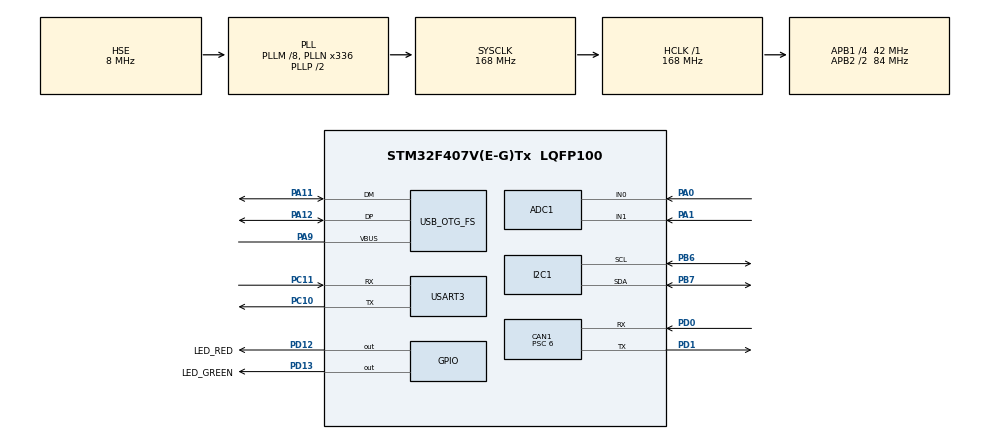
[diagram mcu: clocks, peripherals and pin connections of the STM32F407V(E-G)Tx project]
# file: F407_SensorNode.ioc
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ADC1.Channel-2\#ChannelRegularConversion=ADC_CHANNEL_1
ADC1.DMAContinuousRequests=ENABLE
ADC1.NbrOfConversion=2
ADC1.NbrOfConversionFlag=1
ADC1.Rank-2\#ChannelRegularConversion=2
ADC1.SamplingTime-0\#ChannelRegularConversion=ADC_SAMPLETIME_480CYCLES
ADC1.SamplingTime-2\#ChannelRegularConversion=ADC_SAMPLETIME_480CYCLES
ADC1.master=1
CAN1.ABOM=ENABLE
CAN1.BS1=CAN_BS1_11TQ
CAN1.BS2=CAN_BS2_2TQ
CAN1.CalculateBaudRate=500000
CAN1.CalculateTimeBit=2000
CAN1.CalculateTimeQuantum=142.85714285714286
CAN1.Prescaler=6
Dma.ADC1.1.Direction=DMA_PERIPH_TO_MEMORY
Dma.ADC1.1.FIFOMode=DMA_FIFOMODE_DISABLE
Dma.ADC1.1.Instance=DMA2_Stream0
Dma.ADC1.1.MemDataAlignment=DMA_MDATAALIGN_HALFWORD
Dma.ADC1.1.MemInc=DMA_MINC_ENABLE
Dma.ADC1.1.Mode=DMA_CIRCULAR
Dma.ADC1.1.PeriphDataAlignment=DMA_PDATAALIGN_HALFWORD
Dma.ADC1.1.PeriphInc=DMA_PINC_DISABLE
Dma.ADC1.1.Priority=DMA_PRIORITY_HIGH
Dma.Request0=USART3_RX
Dma.Request1=ADC1
Dma.USART3_RX.0.Direction=DMA_PERIPH_TO_MEMORY
Dma.USART3_RX.0.FIFOMode=DMA_FIFOMODE_DISABLE
Dma.USART3_RX.0.Instance=DMA1_Stream1
Dma.USART3_RX.0.MemDataAlignment=DMA_MDATAALIGN_BYTE
Dma.USART3_RX.0.MemInc=DMA_MINC_ENABLE
Dma.USART3_RX.0.Mode=DMA_CIRCULAR
Dma.USART3_RX.0.PeriphDataAlignment=DMA_PDATAALIGN_BYTE
Dma.USART3_RX.0.PeriphInc=DMA_PINC_DISABLE
Dma.USART3_RX.0.Priority=DMA_PRIORITY_MEDIUM
FREERTOS.BinarySemaphores01=modbusRxSemaphore,Dynamic,NULL,Available
FREERTOS.Mutexes01=sensorDataMutex,Dynamic,NULL,Available
FREERTOS.Tasks01=sensorTask,24,256,SensorTaskFunc,Default,NULL,Dynamic,NULL,NULL;modbusTask,40,512,ModbusTaskFunc,Default,NULL,Dynamic,NULL,NULL;canTask,24,256,CANTaskFunc,Default,NULL,Dynamic,NULL,NULL;displayTask,8,512,DisplayTaskFunc,Default,NULL,Dynamic,NULL,NULL
FREERTOS.configCHECK_FOR_STACK_OVERFLOW=2
FREERTOS.configRECORD_STACK_HIGH_ADDRESS=1
FREERTOS.configUSE_MALLOC_FAILED_HOOK=1
Mcu.Family=STM32F4
Mcu.Name=STM32F407V(E-G)Tx
Mcu.Package=LQFP100
NVIC.CAN1_RX0_IRQn=true\:5\:0\:false\:false\:true\:true\:true\:true\:true
NVIC.CAN1_TX_IRQn=true\:5\:0\:false\:false\:true\:true\:true\:true\:true
NVIC.DMA1_Stream1_IRQn=true\:5\:0\:false\:false\:true\:true\:false\:true\:true
NVIC.DMA2_Stream0_IRQn=true\:5\:0\:false\:false\:true\:true\:false\:true\:true
NVIC.I2C1_EV_IRQn=true\:5\:0\:false\:false\:true\:true\:true\:true\:true
NVIC.OTG_FS_IRQn=true\:5\:0\:false\:false\:true\:true\:false\:true\:true
NVIC.PriorityGroup=NVIC_PRIORITYGROUP_4
NVIC.TIM6_DAC_IRQn=true\:15\:0\:false\:false\:true\:false\:false\:true\:true
NVIC.TimeBase=TIM6_DAC_IRQn
NVIC.TimeBaseIP=TIM6
NVIC.USART3_IRQn=true\:5\:0\:false\:false\:true\:true\:true\:true\:true
PA0-WKUP.Signal=ADCx_IN0
PA1.Signal=ADCx_IN1
PA11.Mode=Device_Only
PA11.Signal=USB_OTG_FS_DM
PA12.Mode=Device_Only
PA12.Signal=USB_OTG_FS_DP
PA13.Mode=Serial_Wire
PA13.Signal=SYS_JTMS-SWDIO
PA14.Mode=Serial_Wire
PA14.Signal=SYS_JTCK-SWCLK
PA9.Mode=Activate_VBUS
PA9.Signal=USB_OTG_FS_VBUS
PB6.Mode=I2C
PB6.Signal=I2C1_SCL
PB7.Mode=I2C
PB7.Signal=I2C1_SDA
PC10.Mode=Asynchronous
PC10.Signal=USART3_TX
PC11.Mode=Asynchronous
PC11.Signal=USART3_RX
PD0.Mode=CAN_Activate
PD0.Signal=CAN1_RX
PD1.Mode=CAN_Activate
PD1.Signal=CAN1_TX
PD12.GPIO_Label=LED_RED
PD12.Signal=GPIO_Output
PD13.GPIO_Label=LED_GREEN
PD13.Signal=GPIO_Output
PH0-OSC_IN.Mode=HSE-External-Oscillator
PH0-OSC_IN.Signal=RCC_OSC_IN
PH1-OSC_OUT.Mode=HSE-External-Oscillator
PH1-OSC_OUT.Signal=RCC_OSC_OUT
ProjectManager.HeapSize=0x200
ProjectManager.StackSize=0x400
ProjectManager.TargetToolchain=CMake
RCC.48MHZClocksFreq_Value=48000000
RCC.AHBFreq_Value=168000000
RCC.APB1CLKDivider=RCC_HCLK_DIV4
RCC.APB1Freq_Value=42000000
RCC.APB1TimFreq_Value=84000000
RCC.APB2CLKDivider=RCC_HCLK_DIV2
RCC.APB2Freq_Value=84000000
RCC.APB2TimFreq_Value=168000000
RCC.CortexFreq_Value=168000000
RCC.HCLKFreq_Value=168000000
RCC.HSE_VALUE=8000000
RCC.HSI_VALUE=16000000
RCC.LSE_VALUE=32768
RCC.PLLM=8
RCC.PLLN=336
RCC.PLLQ=7
RCC.SYSCLKFreq_VALUE=168000000
RCC.SYSCLKSource=RCC_SYSCLKSOURCE_PLLCLK
RCC.VCOOutputFreq_Value=336000000
SH.ADCx_IN0.0=ADC1_IN0,IN0
SH.ADCx_IN1.0=ADC1_IN1,IN1
USART3.VirtualMode=VM_ASYNC
USB_DEVICE.CLASS_NAME_FS=CDC
USB_DEVICE.VirtualMode-CDC_FS=Cdc
USB_DEVICE.VirtualModeFS=Cdc_FS
USB_OTG_FS.VirtualMode=Device_Only
VP_FREERTOS_VS_CMSIS_V2.Mode=CMSIS_V2
VP_SYS_VS_tim6.Mode=TIM6
VP_USB_DEVICE_VS_USB_DEVICE_CDC_FS.Mode=CDC_FS
board=custom

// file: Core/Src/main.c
/* USER CODE BEGIN Header */
/**
  ******************************************************************************
  * @file           : main.c
  * @brief          : Main program body
  ******************************************************************************
  * @attention
  *
  * Copyright (c) 2026 STMicroelectronics.
  * All rights reserved.
  *
  * This software is licensed under terms that can be found in the LICENSE file
  * in the root directory of this software component.
  * If no LICENSE file comes with this software, it is provided AS-IS.
  *
  ******************************************************************************
  */
/* USER CODE END Header */
#include "main.h"
#include "cmsis_os.h"
#include "adc.h"
#include "can.h"
#include "dma.h"
#include "i2c.h"
#include "usart.h"
#include "usb_device.h"
#include "gpio.h"

/* USER CODE BEGIN Includes */
#include "utils/ringbuf.h"
#include "drivers/max485.h"
/* USER CODE END Includes */

void SystemClock_Config(void);
void MX_FREERTOS_Init(void);

int main(void)
{

  /* MCU Configuration--------------------------------------------------------*/

  /* Reset of all peripherals, Initializes the Flash interface and the Systick. */
  HAL_Init();

  /* Configure the system clock */
  SystemClock_Config();

  /* Initialize all configured peripherals */
  MX_GPIO_Init();
  MX_DMA_Init();
  MX_ADC1_Init();
  MX_CAN1_Init();
  MX_I2C1_Init();
  MX_USART3_UART_Init();
  /* USER CODE BEGIN 2 */
  extern ringbuf_t g_modbus_rb;
  ringbuf_init(&g_modbus_rb);
  max485_init();
  /* USER CODE END 2 */

  /* Init scheduler */
  osKernelInitialize();  /* Call init function for freertos objects (in cmsis_os2.c) */
  MX_FREERTOS_Init();

  /* Start scheduler */
  osKernelStart();

  /* We should never get here as control is now taken by the scheduler */

  /* Infinite loop */
  while (1)
  {

  }
}

void SystemClock_Config(void)
{
  RCC_OscInitTypeDef RCC_OscInitStruct = {0};
  RCC_ClkInitTypeDef RCC_ClkInitStruct = {0};

  /** Configure the main internal regulator output voltage
  */
  __HAL_RCC_PWR_CLK_ENABLE();
  __HAL_PWR_VOLTAGESCALING_CONFIG(PWR_REGULATOR_VOLTAGE_SCALE1);

  /** Initializes the RCC Oscillators according to the specified parameters
  * in the RCC_OscInitTypeDef structure.
  */
  RCC_OscInitStruct.OscillatorType = RCC_OSCILLATORTYPE_HSE;
  RCC_OscInitStruct.HSEState = RCC_HSE_ON;
  RCC_OscInitStruct.PLL.PLLState = RCC_PLL_ON;
  RCC_OscInitStruct.PLL.PLLSource = RCC_PLLSOURCE_HSE;
  RCC_OscInitStruct.PLL.PLLM = 8;
  RCC_OscInitStruct.PLL.PLLN = 336;
  RCC_OscInitStruct.PLL.PLLP = RCC_PLLP_DIV2;
  RCC_OscInitStruct.PLL.PLLQ = 7;
  if (HAL_RCC_OscConfig(&RCC_OscInitStruct) != HAL_OK)
  {
    Error_Handler();
  }

  /** Initializes the CPU, AHB and APB buses clocks
  */
  RCC_ClkInitStruct.ClockType = RCC_CLOCKTYPE_HCLK|RCC_CLOCKTYPE_SYSCLK
                              |RCC_CLOCKTYPE_PCLK1|RCC_CLOCKTYPE_PCLK2;
  RCC_ClkInitStruct.SYSCLKSource = RCC_SYSCLKSOURCE_PLLCLK;
  RCC_ClkInitStruct.AHBCLKDivider = RCC_SYSCLK_DIV1;
  RCC_ClkInitStruct.APB1CLKDivider = RCC_HCLK_DIV4;
  RCC_ClkInitStruct.APB2CLKDivider = RCC_HCLK_DIV2;

  if (HAL_RCC_ClockConfig(&RCC_ClkInitStruct, FLASH_LATENCY_5) != HAL_OK)
  {
    Error_Handler();
  }
}

void HAL_TIM_PeriodElapsedCallback(TIM_HandleTypeDef *htim)
{
  if (htim->Instance == TIM6)
  {
    HAL_IncTick();
  }
}

void Error_Handler(void)
{
  __disable_irq();
  while (1)
  {
  }
}

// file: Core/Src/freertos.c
/* USER CODE BEGIN Header */
/**
  ******************************************************************************
  * File Name          : freertos.c
  * Description        : Code for freertos applications
  ******************************************************************************
  * @attention
  *
  * Copyright (c) 2026 STMicroelectronics.
  * All rights reserved.
  *
  * This software is licensed under terms that can be found in the LICENSE file
  * in the root directory of this software component.
  * If no LICENSE file comes with this software, it is provided AS-IS.
  *
  ******************************************************************************
  */
/* USER CODE END Header */

#include "FreeRTOS.h"
#include "task.h"
#include "main.h"
#include "cmsis_os.h"

/* USER CODE BEGIN Includes */
#include "app/task_sensor.h"
#include "app/task_modbus.h"
#include "app/task_can.h"
#include "app/task_display.h"
#include "app/app_global.h"
#include "utils/ringbuf.h"
#include "drivers/max485.h"
#include "semphr.h"
#include "usb_device.h"
/* USER CODE END Includes */

/* USER CODE BEGIN Variables */
volatile uint32_t adc_dma_buf[2];  /* PA0=电流, PA1=光照 */
ringbuf_t g_modbus_rb;             /* USART3 Modbus 接收缓冲区 */
osMutexId_t i2c1MutexHandle;      /* I2C1 总线锁, 定义在这, extern 在 app_global.h */
/* USER CODE END Variables */
/* Definitions for sensorTask */
osThreadId_t sensorTaskHandle;
const osThreadAttr_t sensorTask_attributes = {
  .name = "sensorTask",
  .stack_size = 256 * 4,
  .priority = (osPriority_t) osPriorityNormal,
};
/* Definitions for modbusTask */
osThreadId_t modbusTaskHandle;
const osThreadAttr_t modbusTask_attributes = {
  .name = "modbusTask",
  .stack_size = 512 * 4,
  .priority = (osPriority_t) osPriorityHigh,
};
/* Definitions for canTask */
osThreadId_t canTaskHandle;
const osThreadAttr_t canTask_attributes = {
  .name = "canTask",
  .stack_size = 256 * 4,
  .priority = (osPriority_t) osPriorityNormal,
};
/* Definitions for displayTask */
osThreadId_t displayTaskHandle;
const osThreadAttr_t displayTask_attributes = {
  .name = "displayTask",
  .stack_size = 512 * 4,
  .priority = (osPriority_t) osPriorityLow,
};
/* Definitions for sensorDataMutex */
osMutexId_t sensorDataMutexHandle;
const osMutexAttr_t sensorDataMutex_attributes = {
  .name = "sensorDataMutex"
};
/* Definitions for modbusRxSemaphore */
osSemaphoreId_t modbusRxSemaphoreHandle;
const osSemaphoreAttr_t modbusRxSemaphore_attributes = {
  .name = "modbusRxSemaphore"
};

void SensorTaskFunc(void *argument);
void ModbusTaskFunc(void *argument);
void CANTaskFunc(void *argument);
void DisplayTaskFunc(void *argument);

extern void MX_USB_DEVICE_Init(void);
void MX_FREERTOS_Init(void); /* (MISRA C 2004 rule 8.1) */

/* Hook prototypes */
void vApplicationStackOverflowHook(xTaskHandle xTask, signed char *pcTaskName);
void vApplicationMallocFailedHook(void);

/* USER CODE BEGIN 4 */
volatile uint32_t dbg_stack_overflow = 0;  /* 诊断: 栈溢出触发计数 */
void vApplicationStackOverflowHook(xTaskHandle xTask, signed char *pcTaskName)
{
   (void)xTask;       /* CubeMX 生成, 任务句柄 */
   (void)pcTaskName;  /* CubeMX 生成, 任务名 */
   /* configCHECK_FOR_STACK_OVERFLOW 设为 Method 2 时, 栈溢出会触发这里。
      可以在这里加 LED 闪烁/日志记录来诊断哪个任务栈溢出。 */
   dbg_stack_overflow++;  /* 记录溢出事件 */
}
/* USER CODE END 4 */

/* USER CODE BEGIN 5 */
void vApplicationMallocFailedHook(void)
{
   /* vApplicationMallocFailedHook() will only be called if
   configUSE_MALLOC_FAILED_HOOK is set to 1 in FreeRTOSConfig.h. It is a hook
   function that will get called if a call to pvPortMalloc() fails.
   pvPortMalloc() is called internally by the kernel whenever a task, queue,
   timer or semaphore is created. It is also called by various parts of the
   demo application. If heap_1.c or heap_2.c are used, then the size of the
   heap available to pvPortMalloc() is defined by configTOTAL_HEAP_SIZE in
   FreeRTOSConfig.h, and the xPortGetFreeHeapSize() API function can be used
   to query the size of free heap space that remains (although it does not
   provide information on how the remaining heap might be fragmented). */
}
/* USER CODE END 5 */

void MX_FREERTOS_Init(void) {
  /* Create the mutex(es) */
  /* creation of sensorDataMutex */
  sensorDataMutexHandle = osMutexNew(&sensorDataMutex_attributes);

  /* USER CODE BEGIN RTOS_MUTEX */
  /* 保护 I2C1 总线: SensorTask 和 DisplayTask 共用 hi2c1 */
  const osMutexAttr_t i2c1Mutex_attributes = { .name = "i2c1Mutex" };
  i2c1MutexHandle = osMutexNew(&i2c1Mutex_attributes);
  /* USER CODE END RTOS_MUTEX */

  /* Create the semaphores(s) */
  /* creation of modbusRxSemaphore */
  modbusRxSemaphoreHandle = osSemaphoreNew(1, 1, &modbusRxSemaphore_attributes);

  /* Create the thread(s) */
  /* creation of sensorTask */
  sensorTaskHandle = osThreadNew(SensorTaskFunc, NULL, &sensorTask_attributes);

  /* creation of modbusTask */
  modbusTaskHandle = osThreadNew(ModbusTaskFunc, NULL, &modbusTask_attributes);

  /* creation of canTask */
  canTaskHandle = osThreadNew(CANTaskFunc, NULL, &canTask_attributes);

  /* creation of displayTask */
  displayTaskHandle = osThreadNew(DisplayTaskFunc, NULL, &displayTask_attributes);

}

/* USER CODE BEGIN Application */

/**
 * @brief  USART3 接收事件回调 (IDLE 中断)
 * @note   在 stm32f4xx_it.c 的 USART3_IRQHandler 中由 HAL 调用
 */
void HAL_UARTEx_RxEventCallback(UART_HandleTypeDef *huart, uint16_t Size)
{
    if (huart->Instance == USART3 && Size > 0) {
        ringbuf_commit_rx(&g_modbus_rb, Size);
        /* 唤醒 ModbusTask 解析帧 */
        BaseType_t xHigherPriorityTaskWoken = pdFALSE;
        xSemaphoreGiveFromISR(modbusRxSemaphoreHandle, &xHigherPriorityTaskWoken);
        portYIELD_FROM_ISR(xHigherPriorityTaskWoken);
    }
}

/* USER CODE END Application */
